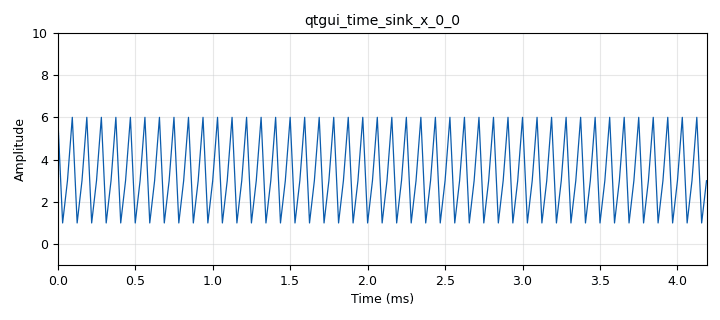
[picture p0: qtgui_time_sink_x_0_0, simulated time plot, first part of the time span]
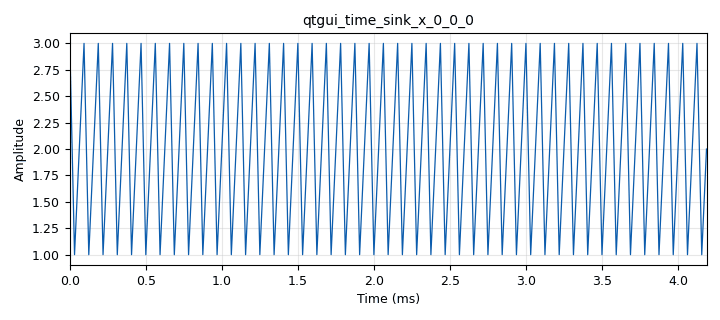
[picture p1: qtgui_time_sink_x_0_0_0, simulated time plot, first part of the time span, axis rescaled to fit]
options:
  parameters:
    generate_options: qt_gui
    id: PRACTICA_1
    output_language: python
    title: Not titled yet
  states: {}

blocks:
- name: samp_rate
  id: variable
  parameters:
    value: '32000'
  states: {}
- name: analog_sig_source_x_0
  id: analog_sig_source_x
  parameters:
    amp: '1'
    freq: '1000'
    offset: '0'
    phase: '0'
    samp_rate: samp_rate
    type: int
    waveform: analog.GR_SQR_WAVE
  states: {state: disabled}
- name: blocks_throttle_0
  id: blocks_throttle
  parameters:
    samples_per_second: samp_rate
    type: float
  states: {state: disabled}
- name: blocks_vector_source_x_0
  id: blocks_vector_source_x
  parameters:
    repeat: 'True'
    type: float
    vector: (1, 2,3)
  states: {}
- name: epy_block_0
  id: epy_block
  parameters:
    _source_code: "import numpy as np\nfrom gnuradio import gr\nclass blk(gr.sync_block):\n\tdef __init__(self): \n\t\tgr.sync_block.__init__(\n\t\t\tself,\n\t\t\tname='e_Acum',\n\t\t\tin_sig=[np.float32],\n\t\t\tout_sig=[np.float32]\n\t\t)\n\tdef work(self, input_items, output_items):\n\t\tx = input_items[0] # Senial de entrada\n\t\ty0 = output_items[0] # Senial acumulada\n\t\tlimited_x = x[:3]\n\t\ty0 [:3] = np.cumsum(limited_x)\n\t\treturn len(y0[:3])\n\n\n"
  states: {}
- name: qtgui_number_sink_0
  id: qtgui_number_sink
  parameters:
    graph_type: qtgui.NUM_GRAPH_HORIZ
    type: float
  states: {}
- name: qtgui_time_sink_x_0
  id: qtgui_time_sink_x
  parameters:
    size: '1024'
    srate: samp_rate
    type: float
  states: {state: disabled}
- name: qtgui_time_sink_x_0_0
  id: qtgui_time_sink_x
  parameters:
    size: '1024'
    srate: samp_rate
    type: float
    ymax: '10'
  states: {}
- name: qtgui_time_sink_x_0_0_0
  id: qtgui_time_sink_x
  parameters:
    size: '1024'
    srate: samp_rate
    type: float
  states: {}

connections:
- [analog_sig_source_x_0, '0', blocks_throttle_0, '0']
- [blocks_throttle_0, '0', qtgui_time_sink_x_0, '0']
- [blocks_vector_source_x_0, '0', epy_block_0, '0']
- [blocks_vector_source_x_0, '0', qtgui_time_sink_x_0_0_0, '0']
- [epy_block_0, '0', qtgui_number_sink_0, '0']
- [epy_block_0, '0', qtgui_time_sink_x_0_0, '0']

metadata:
  file_format: 1
  grc_version: 3.10.9.2
